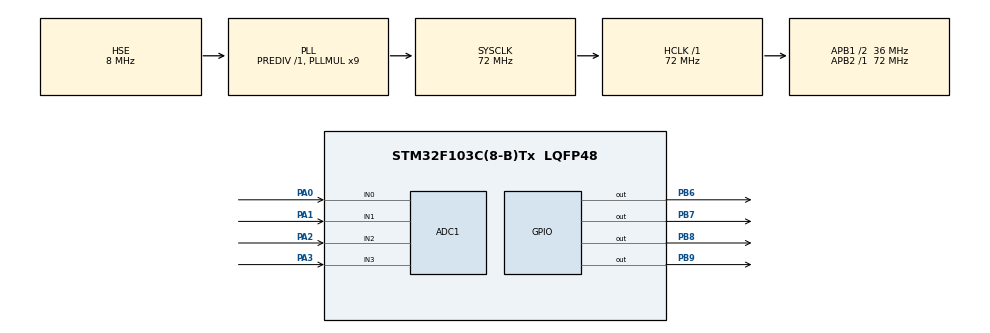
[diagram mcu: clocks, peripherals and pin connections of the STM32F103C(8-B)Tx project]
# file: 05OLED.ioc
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ADC1.Channel-1\#ChannelRegularConversion=ADC_CHANNEL_0
ADC1.Channel-2\#ChannelRegularConversion=ADC_CHANNEL_1
ADC1.Channel-3\#ChannelRegularConversion=ADC_CHANNEL_2
ADC1.Channel-4\#ChannelRegularConversion=ADC_CHANNEL_3
ADC1.DiscontinuousConvMode=ENABLE
ADC1.NbrOfConversion=4
ADC1.NbrOfConversionFlag=1
ADC1.Rank-1\#ChannelRegularConversion=1
ADC1.Rank-2\#ChannelRegularConversion=2
ADC1.Rank-3\#ChannelRegularConversion=3
ADC1.Rank-4\#ChannelRegularConversion=4
ADC1.SamplingTime-1\#ChannelRegularConversion=ADC_SAMPLETIME_1CYCLE_5
ADC1.SamplingTime-2\#ChannelRegularConversion=ADC_SAMPLETIME_1CYCLE_5
ADC1.SamplingTime-3\#ChannelRegularConversion=ADC_SAMPLETIME_1CYCLE_5
ADC1.SamplingTime-4\#ChannelRegularConversion=ADC_SAMPLETIME_1CYCLE_5
ADC1.master=1
Mcu.Family=STM32F1
Mcu.Name=STM32F103C(8-B)Tx
Mcu.Package=LQFP48
NVIC.PriorityGroup=NVIC_PRIORITYGROUP_4
PA0-WKUP.Signal=ADCx_IN0
PA1.Signal=ADCx_IN1
PA13.Mode=Serial_Wire
PA13.Signal=SYS_JTMS-SWDIO
PA14.Mode=Serial_Wire
PA14.Signal=SYS_JTCK-SWCLK
PA2.Signal=ADCx_IN2
PA3.Signal=ADCx_IN3
PB6.Signal=GPIO_Output
PB7.PinState=GPIO_PIN_SET
PB7.Signal=GPIO_Output
PB8.GPIO_ModeDefaultOutputPP=GPIO_MODE_OUTPUT_OD
PB8.GPIO_PuPd=GPIO_PULLUP
PB8.PinState=GPIO_PIN_SET
PB8.Signal=GPIO_Output
PB9.GPIO_ModeDefaultOutputPP=GPIO_MODE_OUTPUT_OD
PB9.GPIO_PuPd=GPIO_PULLUP
PB9.PinState=GPIO_PIN_SET
PB9.Signal=GPIO_Output
PD0-OSC_IN.Mode=HSE-External-Oscillator
PD0-OSC_IN.Signal=RCC_OSC_IN
PD1-OSC_OUT.Mode=HSE-External-Oscillator
PD1-OSC_OUT.Signal=RCC_OSC_OUT
ProjectManager.HeapSize=0x200
ProjectManager.StackSize=0x400
ProjectManager.TargetToolchain=MDK-ARM V5.32
RCC.ADCPresc=RCC_ADCPCLK2_DIV6
RCC.AHBFreq_Value=72000000
RCC.APB1CLKDivider=RCC_HCLK_DIV2
RCC.APB1Freq_Value=36000000
RCC.APB1TimFreq_Value=72000000
RCC.APB2Freq_Value=72000000
RCC.APB2TimFreq_Value=72000000
RCC.HCLKFreq_Value=72000000
RCC.PLLMUL=RCC_PLL_MUL9
RCC.PLLSourceVirtual=RCC_PLLSOURCE_HSE
RCC.SYSCLKFreq_VALUE=72000000
RCC.SYSCLKSource=RCC_SYSCLKSOURCE_PLLCLK
RCC.USBFreq_Value=72000000
SH.ADCx_IN0.0=ADC1_IN0,IN0
SH.ADCx_IN1.0=ADC1_IN1,IN1
SH.ADCx_IN2.0=ADC1_IN2,IN2
SH.ADCx_IN3.0=ADC1_IN3,IN3
board=custom

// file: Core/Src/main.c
/* USER CODE BEGIN Header */
/**
  ******************************************************************************
  * @file           : main.c
  * @brief          : Main program body
  ******************************************************************************
  * @attention
  *
  * Copyright (c) 2025 STMicroelectronics.
  * All rights reserved.
  *
  * This software is licensed under terms that can be found in the LICENSE file
  * in the root directory of this software component.
  * If no LICENSE file comes with this software, it is provided AS-IS.
  *
  ******************************************************************************
  */
/* USER CODE END Header */
#include "main.h"
#include "adc.h"
#include "gpio.h"

/* USER CODE BEGIN Includes */
// ���OLEDͷ�ļ�
#include "OLED.h"

/* USER CODE END Includes */

/* USER CODE BEGIN PTD */
	uint16_t ADC_Value[4] = {0};

/* USER CODE END PTD */

void SystemClock_Config(void);

int main(void)
{

  /* MCU Configuration--------------------------------------------------------*/

  /* Reset of all peripherals, Initializes the Flash interface and the Systick. */
  HAL_Init();

  /* Configure the system clock */
  SystemClock_Config();

  /* Initialize all configured peripherals */
  MX_GPIO_Init();
  MX_ADC1_Init();
  /* USER CODE BEGIN 2 */
  OLED_Init();

	OLED_Clear();

	// 启动 ADC 硬件自校准
	HAL_ADCEx_Calibration_Start(&hadc1);

	OLED_ShowString(1, 1, "ADC1:");
	OLED_ShowString(2, 1, "ADC2:");
	OLED_ShowString(3, 1, "ADC3:");
	OLED_ShowString(4, 1, "ADC4:");
  /* USER CODE END 2 */

  /* Infinite loop */
  while (1)
  {

    /* USER CODE BEGIN 3 */
		/*
		每次HAL_ADC_Start()都会重新开始整个转换序列
		采用了单次转换 + 扫描模式 + 间断模式（步长为1）
		这意味着虽然你有 4 个通道排队，但每次触发（比如调用一次 HAL_ADC_Start），ADC 只会转换队列中的 1 个通道，然后就暂停

		所以为什么要开启间断模式??
		如果只是“单次+扫描”而不开启间断模式，触发一次 ADC 会瞬间把 4 个通道全部转换完。因为 ADC 数据寄存器只有一个，如果不使用 DMA，后一个通道的数据会瞬间覆盖前一个通道的数据，导致你只能读到最后一个通道的值。
		*/

		/*
		当 i=0 时：HAL_ADC_Start 启动，ADC 硬件去转换 Rank 1 的通道，转换完后硬件自动暂停。代码等待完成后，把 Rank 1 的结果存入 ADC_Value[0]。
		当 i=1 时：HAL_ADC_Start 再次启动，ADC 硬件接着刚才的进度，去转换 Rank 2 的通道，存入 ADC_Value[1]。
		循环 4 次后，刚好把排队的 4 个通道全都读了一遍。
		*/
		for(int i = 0; i < 4; i++)
		{
			HAL_ADC_Start(&hadc1);
			if(HAL_ADC_PollForConversion(&hadc1, HAL_MAX_DELAY) == HAL_OK)
			{
				ADC_Value[i] = HAL_ADC_GetValue(&hadc1);
			}
		}
		OLED_ShowNum(1, 6, ADC_Value[0], 4);
		OLED_ShowNum(2, 6, ADC_Value[1], 4);
		OLED_ShowNum(3, 6, ADC_Value[2], 4);
		OLED_ShowNum(4, 6, ADC_Value[3], 4);

		HAL_Delay(1000);

  }
  /* USER CODE END 3 */
}

void SystemClock_Config(void)
{
  RCC_OscInitTypeDef RCC_OscInitStruct = {0};
  RCC_ClkInitTypeDef RCC_ClkInitStruct = {0};
  RCC_PeriphCLKInitTypeDef PeriphClkInit = {0};

  /** Initializes the RCC Oscillators according to the specified parameters
  * in the RCC_OscInitTypeDef structure.
  */
  RCC_OscInitStruct.OscillatorType = RCC_OSCILLATORTYPE_HSE;
  RCC_OscInitStruct.HSEState = RCC_HSE_ON;
  RCC_OscInitStruct.HSEPredivValue = RCC_HSE_PREDIV_DIV1;
  RCC_OscInitStruct.HSIState = RCC_HSI_ON;
  RCC_OscInitStruct.PLL.PLLState = RCC_PLL_ON;
  RCC_OscInitStruct.PLL.PLLSource = RCC_PLLSOURCE_HSE;
  RCC_OscInitStruct.PLL.PLLMUL = RCC_PLL_MUL9;
  if (HAL_RCC_OscConfig(&RCC_OscInitStruct) != HAL_OK)
  {
    Error_Handler();
  }

  /** Initializes the CPU, AHB and APB buses clocks
  */
  RCC_ClkInitStruct.ClockType = RCC_CLOCKTYPE_HCLK|RCC_CLOCKTYPE_SYSCLK
                              |RCC_CLOCKTYPE_PCLK1|RCC_CLOCKTYPE_PCLK2;
  RCC_ClkInitStruct.SYSCLKSource = RCC_SYSCLKSOURCE_PLLCLK;
  RCC_ClkInitStruct.AHBCLKDivider = RCC_SYSCLK_DIV1;
  RCC_ClkInitStruct.APB1CLKDivider = RCC_HCLK_DIV2;
  RCC_ClkInitStruct.APB2CLKDivider = RCC_HCLK_DIV1;

  if (HAL_RCC_ClockConfig(&RCC_ClkInitStruct, FLASH_LATENCY_2) != HAL_OK)
  {
    Error_Handler();
  }
  PeriphClkInit.PeriphClockSelection = RCC_PERIPHCLK_ADC;
  PeriphClkInit.AdcClockSelection = RCC_ADCPCLK2_DIV6;
  if (HAL_RCCEx_PeriphCLKConfig(&PeriphClkInit) != HAL_OK)
  {
    Error_Handler();
  }
}

void Error_Handler(void)
{
  __disable_irq();
  while (1)
  {
  }
}
